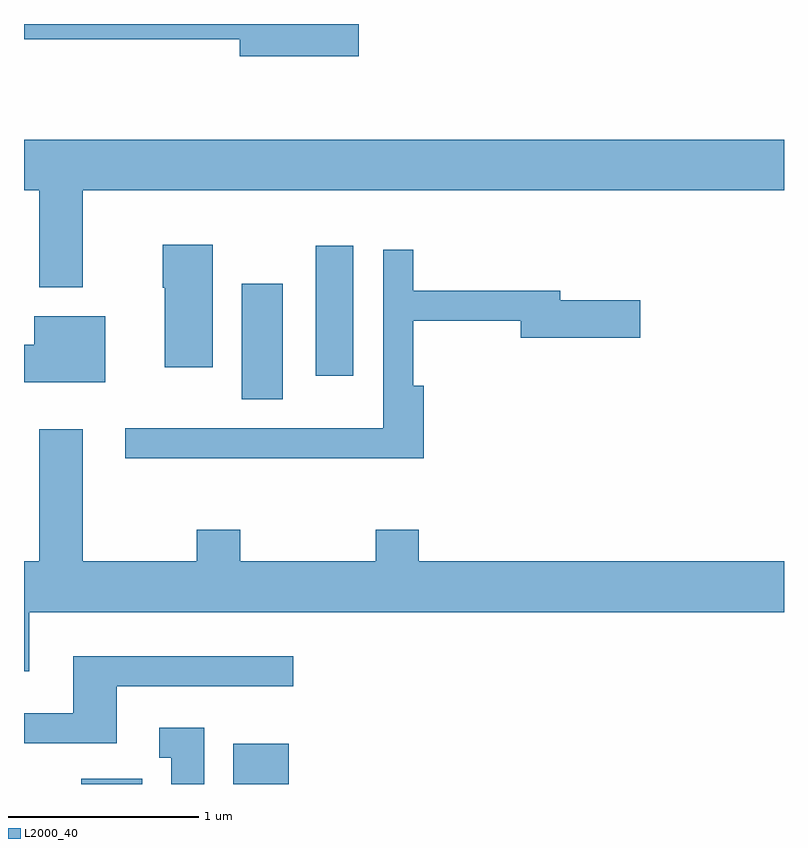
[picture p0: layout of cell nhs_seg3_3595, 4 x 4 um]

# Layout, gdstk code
import gdstk
lib = gdstk.Library(unit=1e-6, precision=1e-09)
def R(c, l, rs):  # rectangles x0, y0, x1, y1
    for r in rs: c.add(gdstk.rectangle(r[:2], r[2:], *l))
def P(c, l, *ps):  # polygons
    for p in ps: c.add(gdstk.Polygon(p, *l))
L2000_40 = (2000, 40)

nhs_seg3_3595 = lib.new_cell('nhs_seg3_3595')
R(nhs_seg3_3595, L2000_40, [(289.911,1233.892,290.234,1233.919), (290.711,1233.892,291.004,1234.104), (290.756,1235.916,290.974,1236.524), (291.146,1236.041,291.344,1236.724)])
P(nhs_seg3_3595, L2000_40, [(291.374,1237.892),(289.611,1237.892),(289.611,1237.811),(290.746,1237.811),(290.746,1237.721),(291.374,1237.721)],
  [(289.919,1237.016),(293.611,1237.016),(293.611,1237.284),(289.611,1237.284),(289.611,1237.016),(289.691,1237.016),(289.691,1236.506),(289.919,1236.506)],
  [(290.604,1236.729),(290.341,1236.729),(290.341,1236.505),(290.351,1236.505),(290.351,1236.086),(290.604,1236.086)],
  [(291.714,1235.989),(291.659,1235.989),(291.659,1236.331),(292.226,1236.331),(292.226,1236.241),(292.854,1236.241),(292.854,1236.439),(292.434,1236.439),(292.434,1236.489),(291.659,1236.489),(291.659,1236.703),(291.501,1236.703),(291.501,1235.764),(290.143,1235.764),(290.143,1235.606),(291.714,1235.606)],
  [(290.039,1236.354),(289.666,1236.354),(289.666,1236.204),(289.611,1236.204),(289.611,1236.006),(290.039,1236.006)],
  [(289.639,1234.796),(293.611,1234.796),(293.611,1235.064),(291.689,1235.064),(291.689,1235.229),(291.461,1235.229),(291.461,1235.064),(290.749,1235.064),(290.749,1235.229),(290.521,1235.229),(290.521,1235.064),(289.919,1235.064),(289.919,1235.759),(289.691,1235.759),(289.691,1235.064),(289.611,1235.064),(289.611,1234.486),(289.639,1234.486)],
  [(290.099,1234.406),(291.028,1234.406),(291.028,1234.564),(289.871,1234.564),(289.871,1234.264),(289.611,1234.264),(289.611,1234.106),(290.099,1234.106)],
  [(290.559,1234.189),(290.323,1234.189),(290.323,1234.031),(290.386,1234.031),(290.386,1233.892),(290.559,1233.892)])

lib.write_gds('nhs_seg3_3595.gds')
